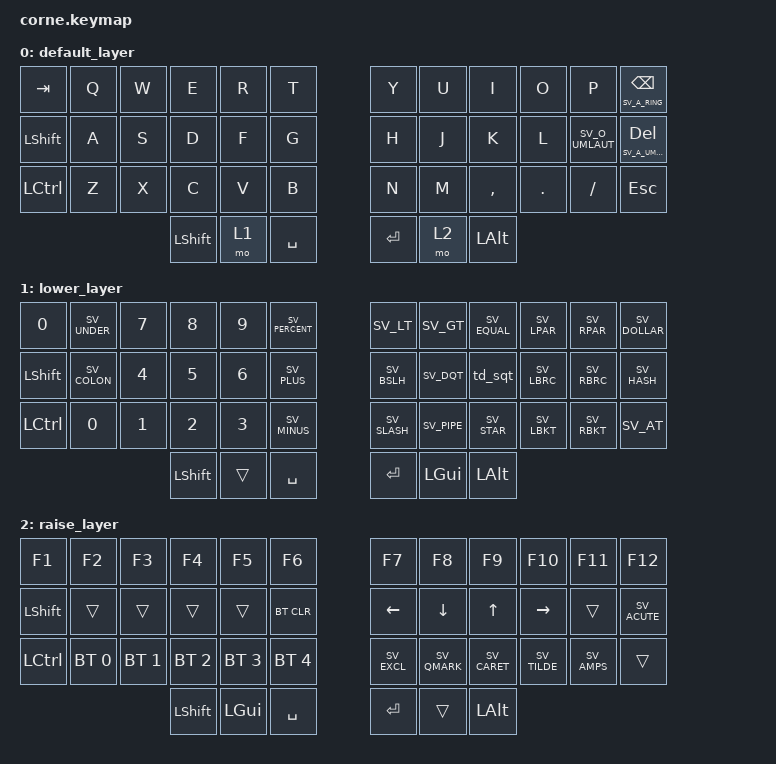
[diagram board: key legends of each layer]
/*
 * Copyright (c) 2020 The ZMK Contributors
 *
 * SPDX-License-Identifier: MIT
 */

#include <behaviors.dtsi>
#include <dt-bindings/zmk/keys.h>
#include <dt-bindings/zmk/bt.h>
#include "keys_sv.h"

// Set only by the corne_left build's DTS_EXTRA_CPPFLAGS in build.yaml.
// Kconfig CONFIG_* symbols are not available during devicetree preprocessing.
#if defined(CORNE_LEFT_TOP_ROW_P104)
// Left-half repair: wire the PCB's top row to P1.04 (Pro Micro 8),
// leaving the damaged controller pin P0.22 disconnected from the PCB.
&kscan0 {
    row-gpios
        = <&pro_micro 8 (GPIO_ACTIVE_HIGH | GPIO_PULL_DOWN)>
        , <&pro_micro 5 (GPIO_ACTIVE_HIGH | GPIO_PULL_DOWN)>
        , <&pro_micro 6 (GPIO_ACTIVE_HIGH | GPIO_PULL_DOWN)>
        , <&pro_micro 7 (GPIO_ACTIVE_HIGH | GPIO_PULL_DOWN)>
        ;
};
#endif

/ {
  behaviors {
      ht_tp: hold_tap_tap_preferred {
          compatible = "zmk,behavior-hold-tap";
          #binding-cells = <2>;
          tapping-term-ms = <200>;
          quick-tap-ms = <100>;
          flavor = "tap-preferred";
          bindings = <&kp>, <&kp>;
      };
      td_sqt: tap_dance_single_quote {
          compatible = "zmk,behavior-tap-dance";
          #binding-cells = <0>;
          tapping-term-ms = <200>;
          bindings = <&kp SV_SQT>, <&kp SV_GRAVE>;
      };
  };

  keymap {
    compatible = "zmk,keymap";

    default_layer {
// -----------------------------------------------------------------------------------------
// |  TAB |  Q  |  W  |  E  |  R  |  T  |   |  Y  |  U   |  I  |  O  |  P  | BSPC/Å |
// | SHFT |  A  |  S  |  D  |  F  |  G  |   |  H  |  J   |  K  |  L  |  Ö  |    Ä   |
// | CTRL |  Z  |  X  |  C  |  V  |  B  |   |  N  |  M   |  ,  |  .  |  -  |  ESC   |
//                    | SHFT| LWR | SPC |   | ENT | RSE  | ALT |
      bindings = <
   &kp TAB   &kp Q &kp W &kp E &kp R &kp T   &kp Y &kp U  &kp I     &kp O   &kp P           &ht_tp SV_A_RING BSPC
   &kp LSHFT &kp A &kp S &kp D &kp F &kp G   &kp H &kp J  &kp K     &kp L   &kp SV_O_UMLAUT &ht_tp SV_A_UMLAUT DEL
   &kp LCTRL &kp Z &kp X &kp C &kp V &kp B   &kp N &kp M  &kp COMMA &kp DOT &kp FSLH        &kp ESC
                  &kp LSHFT &mo 1 &kp SPACE   &kp RET &mo 2 &kp LALT
      >;
    };

  lower_layer {
// numbers and symbols
// -----------------------------------------------------------------------------------------
// |  0   |  _  |  7  |  8  |  9  |  %  |   |  <  |  >  |  =  |  (  |  )  |  $  |
// | SHFT |  :  |  4  |  5  |  6  |  +  |   |  \  |  "  | '`  |  {  |  }  |  #  |
// | CTRL |  0  |  1  |  2  |  3  |  -  |   |  /  |  |  |  *  |  [  |  ]  |  @  |
//                    | SHFT|     | SPC |   | ENT | GUI | ALT |
    bindings = <
   &kp N0    &kp SV_UNDER &kp N7 &kp N8 &kp N9 &kp SV_PERCENT         &kp SV_LT    &kp SV_GT   &kp SV_EQUAL &kp SV_LPAR &kp SV_RPAR &kp SV_DOLLAR
   &kp LSHFT &kp SV_COLON &kp N4 &kp N5 &kp N6 &kp SV_PLUS            &kp SV_BSLH  &kp SV_DQT  &td_sqt &kp SV_LBRC &kp SV_RBRC &kp SV_HASH
   &kp LCTRL &kp N0       &kp N1 &kp N2 &kp N3 &kp SV_MINUS           &kp SV_SLASH &kp SV_PIPE &kp SV_STAR  &kp SV_LBKT &kp SV_RBKT &kp SV_AT
                              &kp LSHFT  &trans  &kp SPACE               &kp RET  &kp LGUI &kp LALT
    >;
    };

                raise_layer {
// -----------------------------------------------------------------------------------------
// |  F1  | F2  | F3  | F4  | F5  | F6  |   | F7  | F8  | F9  | F10 | F11 | F12 |
// | SHFT |     |     |     |     |BTCLR|   | LFT | DWN | UP  | RGT |     |  ´  |
// | CTRL | BT1 | BT2 | BT3 | BT4 | BT5 |   |  !  |  ?  |  ^  |  ~  |  &  |     |
//                    | SHFT| GUI | SPC |   | ENT |     | ALT |
  bindings = <
  &kp  F1   &kp F2 &kp F3 &kp F4 &kp F5 &kp F6                                 &kp F7      &kp F8       &kp F9       &kp F10   &kp F11 &kp F12
  &kp LSHFT &trans &trans &trans &trans &bt BT_CLR &kp LEFT    &kp DOWN     &kp UP       &kp RIGHT &trans  &kp SV_ACUTE
  &kp LCTRL &bt BT_SEL 0 &bt BT_SEL 1 &bt BT_SEL 2 &bt BT_SEL 3 &bt BT_SEL 4 &kp SV_EXCL &kp SV_QMARK &kp SV_CARET &kp SV_TILDE  &kp SV_AMPS   &trans
                            &kp LSHFT &kp LGUI  &kp SPACE                        &kp RET   &trans    &kp LALT
      >;
    };
  };
};
